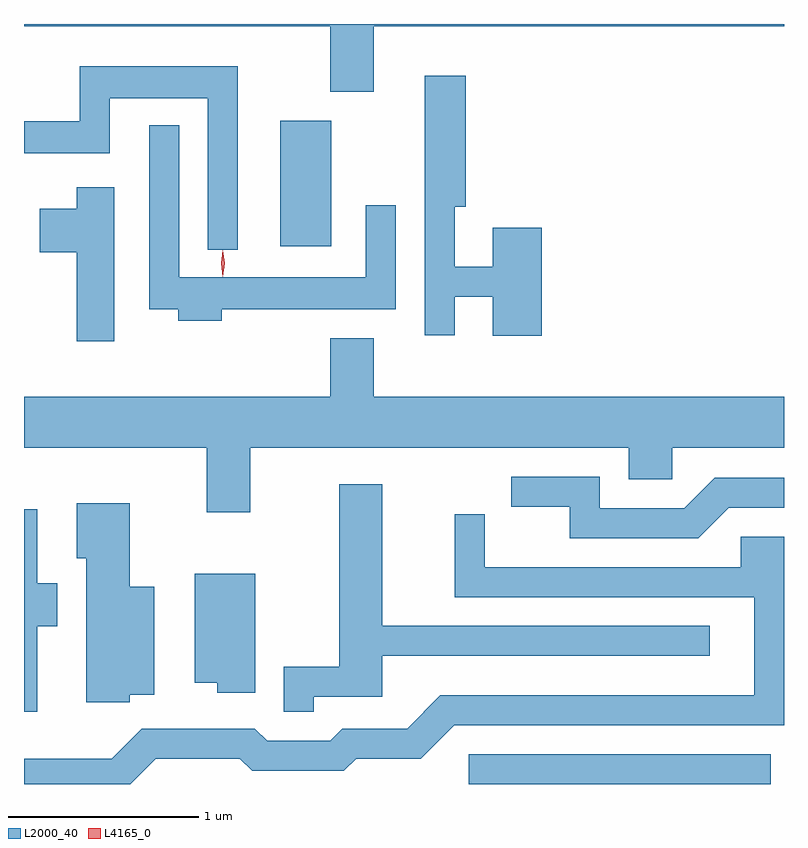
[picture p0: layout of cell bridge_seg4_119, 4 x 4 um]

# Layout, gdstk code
import gdstk
lib = gdstk.Library(unit=1e-6, precision=1e-09)
def R(c, l, rs):  # rectangles x0, y0, x1, y1
    for r in rs: c.add(gdstk.rectangle(r[:2], r[2:], *l))
def P(c, l, *ps):  # polygons
    for p in ps: c.add(gdstk.Polygon(p, *l))
L2000_40 = (2000, 40)
L4165_0 = (4165, 0)

bridge_seg4_119 = lib.new_cell('bridge_seg4_119')
R(bridge_seg4_119, L2000_40, [(807.878,1332.927,809.468,1333.084), (806.886,1335.756,807.154,1336.419)])
P(bridge_seg4_119, L2000_40, [(807.379,1336.916),(809.538,1336.916),(809.538,1336.927),(805.538,1336.927),(805.538,1336.916),(807.151,1336.916),(807.151,1336.571),(807.379,1336.571)],
  [(806.664,1336.704),(805.831,1336.704),(805.831,1336.414),(805.538,1336.414),(805.538,1336.246),(805.989,1336.246),(805.989,1336.536),(806.506,1336.536),(806.506,1335.738),(806.664,1335.738)],
  [(808.264,1335.854),(808.006,1335.854),(808.006,1335.649),(807.804,1335.649),(807.804,1335.966),(807.864,1335.966),(807.864,1336.654),(807.646,1336.654),(807.646,1335.288),(807.804,1335.288),(807.804,1335.491),(808.006,1335.491),(808.006,1335.286),(808.264,1335.286)],
  [(806.579,1335.426),(807.494,1335.426),(807.494,1335.973),(807.336,1335.973),(807.336,1335.594),(806.354,1335.594),(806.354,1336.393),(806.196,1336.393),(806.196,1335.426),(806.351,1335.426),(806.351,1335.366),(806.579,1335.366)],
  [(806.014,1336.069),(805.816,1336.069),(805.816,1335.954),(805.621,1335.954),(805.621,1335.726),(805.816,1335.726),(805.816,1335.256),(806.014,1335.256)],
  [(806.729,1334.696),(808.721,1334.696),(808.721,1334.531),(808.949,1334.531),(808.949,1334.696),(809.538,1334.696),(809.538,1334.964),(807.379,1334.964),(807.379,1335.274),(807.151,1335.274),(807.151,1334.964),(805.538,1334.964),(805.538,1334.696),(806.501,1334.696),(806.501,1334.356),(806.729,1334.356)],
  [(809.247,1334.381),(809.538,1334.381),(809.538,1334.539),(809.174,1334.539),(809.014,1334.379),(808.569,1334.379),(808.569,1334.544),(808.103,1334.544),(808.103,1334.386),(808.411,1334.386),(808.411,1334.221),(809.087,1334.221)],
  [(807.064,1333.386),(807.424,1333.386),(807.424,1333.601),(809.148,1333.601),(809.148,1333.759),(807.424,1333.759),(807.424,1334.504),(807.196,1334.504),(807.196,1333.544),(806.906,1333.544),(806.906,1333.308),(807.064,1333.308)],
  [(806.094,1333.396),(806.224,1333.396),(806.224,1333.964),(806.094,1333.964),(806.094,1334.404),(805.816,1334.404),(805.816,1334.116),(805.866,1334.116),(805.866,1333.356),(806.094,1333.356)],
  [(805.609,1333.756),(805.714,1333.756),(805.714,1333.984),(805.609,1333.984),(805.609,1334.373),(805.538,1334.373),(805.538,1333.308),(805.609,1333.308)],
  [(806.232,1333.061),(806.674,1333.061),(806.739,1332.996),(807.222,1332.996),(807.287,1333.061),(807.627,1333.061),(807.802,1333.236),(809.538,1333.236),(809.538,1334.229),(809.311,1334.229),(809.311,1334.069),(807.964,1334.069),(807.964,1334.348),(807.806,1334.348),(807.806,1333.911),(809.381,1333.911),(809.381,1333.394),(807.729,1333.394),(807.554,1333.219),(807.214,1333.219),(807.149,1333.154),(806.817,1333.154),(806.752,1333.219),(806.159,1333.219),(805.999,1333.059),(805.538,1333.059),(805.538,1332.927),(806.098,1332.927)],
  [(806.754,1334.034),(806.436,1334.034),(806.436,1333.461),(806.556,1333.461),(806.556,1333.406),(806.754,1333.406)])
P(bridge_seg4_119, L4165_0, [(806.585,1335.597),(806.584,1335.598),(806.575,1335.667),(806.584,1335.736),(806.585,1335.736),(806.585,1335.736),(806.595,1335.667),(806.585,1335.598)])

lib.write_gds('bridge_seg4_119.gds')
